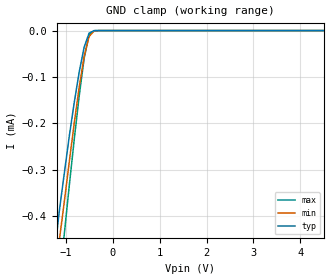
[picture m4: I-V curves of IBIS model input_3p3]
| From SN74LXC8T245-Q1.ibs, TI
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|   input_3p3 Model
[Model]   input_3p3
Model_type   Input
Vinl = 1.5
Vinh = 2.1
|   typ   min   max
C_comp   2.94pF   2.39pF   3.86pF
| Where Nom  PVT is Nominal Process, 3.3V, 27C
|   Fast PVT is Strong Process,  3.6V, -55C
|   Slow PVT is Weak Process,   3.0V, 150C
[Voltage Range]   3.3   2.97   3.63
|Junction Temperature
[Temperature Range]   25   125   -40
[GND Clamp Reference]   0   0   0
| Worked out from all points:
|   GND clamp passes 1 mA (typ) near -1.81 V on its own axis
[GND Clamp]
|   Voltage   I(typ)   I(min)   I(max)
-2.5V     -1.66mA    -1.64mA    -2.09mA
-1.24V    -478uA     -541uA     -650uA
-1.14V    -389uA     -453uA     -542uA
-1.03V    -305uA     -366uA     -435uA
-925mV    -226uA     -281uA     -332uA
-820mV    -154uA     -198uA     -233uA
-715mV    -88.7uA    -121uA     -140uA
-610mV    -35.6uA    -54.9uA    -59.7uA
-505mV    -5.5uA     -12.7uA    -8.49uA
-400mV    -210nA     -1.14uA    -141nA
8V        3.61nA     3.43nA     4.22nA
